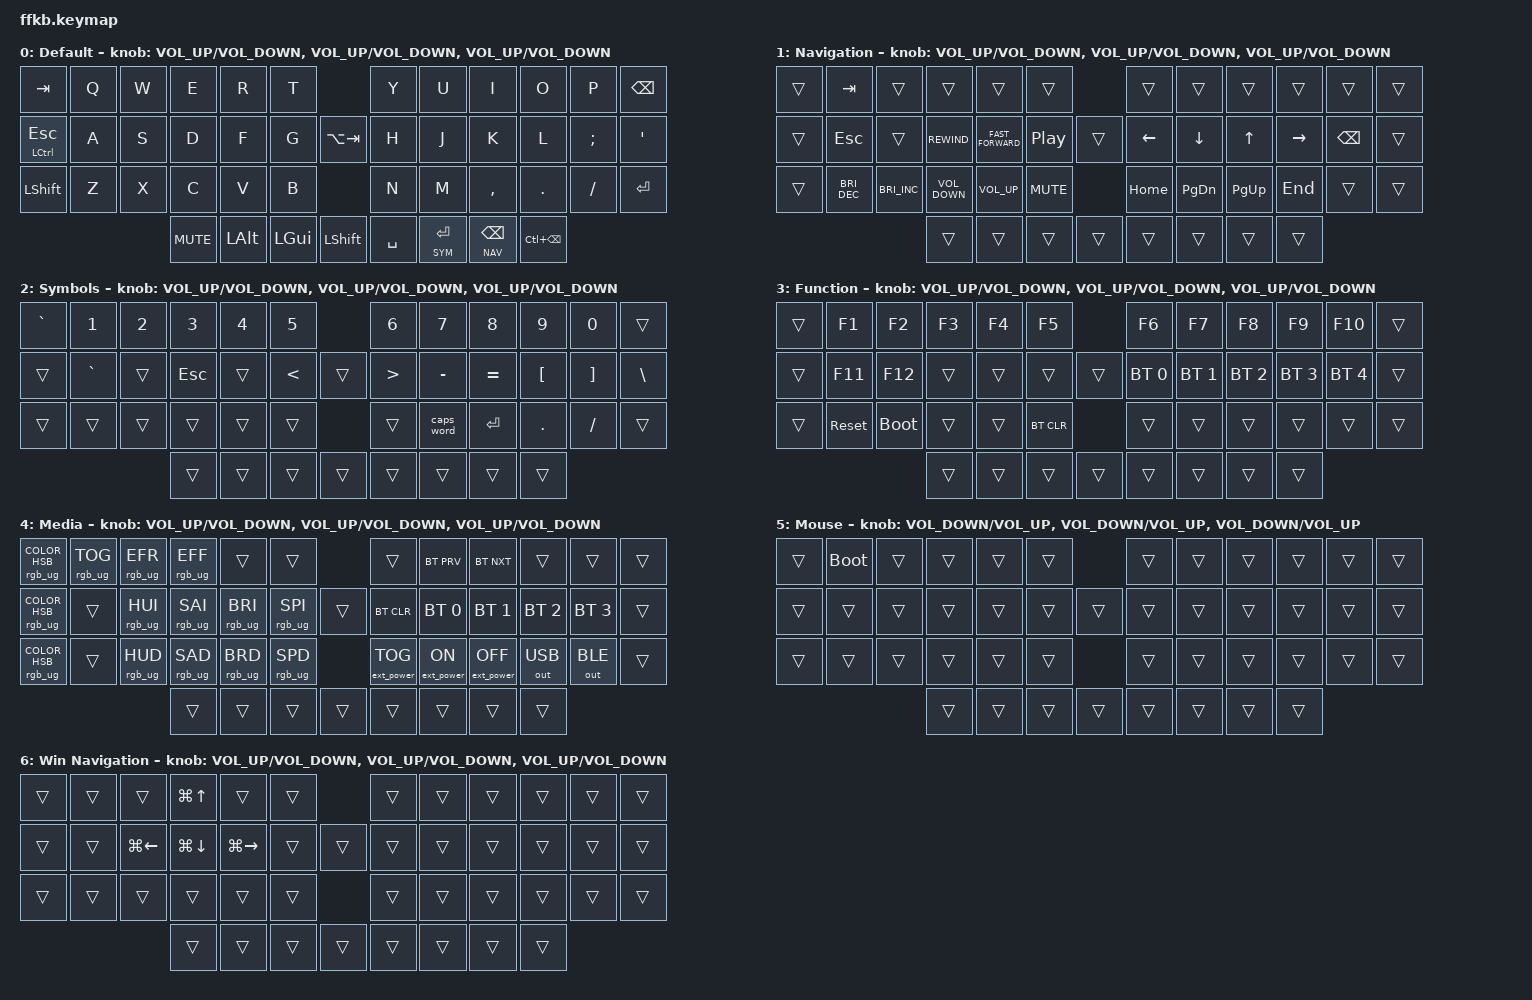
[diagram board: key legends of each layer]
#include <behaviors.dtsi>
#include <dt-bindings/zmk/keys.h>
#include <dt-bindings/zmk/rgb.h>
#include <dt-bindings/zmk/bt.h>
#include <dt-bindings/zmk/ext_power.h>
#include <dt-bindings/zmk/outputs.h>

#define DEFAULT 0
#define NAV     1
#define SYM     2
#define FUNC    3
#define MEDIA   4
#define MOUSE   5
#define WINNAV  6

&caps_word {
    continue-list = <UNDERSCORE MINUS>;
};

/ {
    combos {
        compatible = "zmk,combos";
        combo_undo {
            timeout-ms = <50>;
            key-positions = <26 27>;
            bindings = <&kp LC(Z)>;
        };
        combo_q {
            timeout-ms = <50>;
            key-positions = <27 28>;
            bindings = <&kp Q>;
        };
        combo_semicolon {
            timeout-ms = <50>;
            key-positions = <33 34>;
            bindings = <&kp SEMI>;
        };
    };
};

/ {

    sensors {
        compatible = "zmk,keymap-sensors";
        sensors = <&encoder_1 &encoder_2 &encoder_3>;
    };

    conditional_layers {
        compatible = "zmk,conditional-layers";
        tri_layer {
            if-layers = <NAV SYM>;
            then-layer = <FUNC>;
        };
    };

    behaviors {
        hm: homerow_mods {
            compatible = "zmk,behavior-hold-tap";
            label = "HOMEROW_MODS";
            #binding-cells = <2>;
            tapping-term-ms = <200>;
            quick_tap_ms = <125>;
            global-quick-tap;
            flavor = "balanced";
            bindings = <&kp>, <&kp>;
        };
        hs: homerow_shift {
            compatible = "zmk,behavior-hold-tap";
            label = "HOMEROW_SHIFT";
            #binding-cells = <2>;
            tapping-term-ms = <175>;
            quick_tap_ms = <0>;
            flavor = "balanced";
            bindings = <&kp>, <&kp>;
        };
    };

    keymap {
        compatible = "zmk,keymap";

        default_layer {
            label = "Default";

            sensor-bindings = <&inc_dec_kp C_VOLUME_UP C_VOLUME_DOWN &inc_dec_kp C_VOLUME_UP C_VOLUME_DOWN &inc_dec_kp C_VOLUME_UP C_VOLUME_DOWN>;

            bindings = <
    &kp TAB       &kp Q       &kp W        &kp E       &kp R         &kp T                                       &kp Y            &kp U         &kp I         &kp O       &kp P         &kp BSPC
    &hm LCTL ESC  &kp A       &kp S        &kp D       &kp F         &kp G            &kp LA(TAB)                &kp H            &kp J         &kp K         &kp L       &kp SEMI      &kp SQT
    &kp LSHIFT    &kp Z       &kp X        &kp C       &kp V         &kp B                                       &kp N            &kp M         &kp COMMA     &kp DOT     &kp FSLH      &kp RET
                                           &kp C_MUTE  &kp LALT      &kp LGUI  &kp LSHIFT       &kp SPACE        &lt SYM RET      &lt NAV BSPC  &kp LC(BSPC)
            >;
        };

        nav_layer {
            label = "Navigation";

            sensor-bindings = <&inc_dec_kp C_VOLUME_UP C_VOLUME_DOWN &inc_dec_kp C_VOLUME_UP C_VOLUME_DOWN &inc_dec_kp C_VOLUME_UP C_VOLUME_DOWN>;

            bindings = <
    &trans     &kp TAB       &trans        &trans             &trans             &trans                                      &trans        &trans         &trans        &trans      &trans      &trans
    &trans     &kp ESC       &trans        &kp C_REWIND       &kp C_FAST_FORWARD &kp C_PLAY_PAUSE      &trans                &kp LEFT      &kp DOWN       &kp UP        &kp RIGHT   &kp BSPC    &trans
    &trans     &kp C_BRI_DEC &kp C_BRI_INC &kp C_VOLUME_DOWN  &kp C_VOLUME_UP    &kp K_MUTE                                  &kp HOME      &kp PAGE_DOWN  &kp PAGE_UP   &kp END     &trans      &trans
                                           &trans             &trans             &trans          &trans       &trans         &trans        &trans         &trans
            >;
        };

        sym_layer {
            label = "Symbols";

            sensor-bindings = <&inc_dec_kp C_VOLUME_UP C_VOLUME_DOWN &inc_dec_kp C_VOLUME_UP C_VOLUME_DOWN &inc_dec_kp C_VOLUME_UP C_VOLUME_DOWN>;

            bindings = <
    &kp GRAVE   &kp N1        &kp N2        &kp N3          &kp N4           &kp N5                                      &kp N6        &kp N7            &kp N8        &kp N9      &kp N0      &trans
    &trans      &kp GRAVE     &trans        &kp ESC         &trans           &kp LT                &trans                &kp GT        &kp MINUS         &kp EQUAL     &kp LBKT    &kp RBKT    &kp BSLH
    &trans      &trans        &trans        &trans          &trans           &trans                                      &trans        &caps_word        &kp RET       &kp DOT     &kp FSLH    &trans
                                            &trans          &trans           &trans        &trans         &trans         &trans        &trans            &trans
            >;
        };

        func_layer {
            label = "Function";

            sensor-bindings = <&inc_dec_kp C_VOLUME_UP C_VOLUME_DOWN &inc_dec_kp C_VOLUME_UP C_VOLUME_DOWN &inc_dec_kp C_VOLUME_UP C_VOLUME_DOWN>;

            bindings = <
    &trans     &kp F1       &kp F2       &kp F3             &kp F4           &kp F5                                      &kp F6        &kp F7        &kp F8        &kp F9        &kp F10       &trans
    &trans     &kp F11      &kp F12      &trans             &trans           &trans               &trans                 &bt BT_SEL 0  &bt BT_SEL 1  &bt BT_SEL 2  &bt BT_SEL 3  &bt BT_SEL 4  &trans
    &trans     &sys_reset   &bootloader  &trans             &trans           &bt BT_CLR                                  &trans        &trans        &trans        &trans        &trans        &trans
                                         &trans             &trans           &trans        &trans         &trans         &trans        &trans        &trans
            >;
        };

        media_layer {
            label = "Media";

            sensor-bindings = <&inc_dec_kp C_VOLUME_UP C_VOLUME_DOWN &inc_dec_kp C_VOLUME_UP C_VOLUME_DOWN &inc_dec_kp C_VOLUME_UP C_VOLUME_DOWN>;

            bindings = <
    &rgb_ug RGB_COLOR_HSB(0,0,100)         &rgb_ug RGB_TOG  &rgb_ug RGB_EFR  &rgb_ug RGB_EFF &trans            &trans                            &trans             &bt BT_PRV        &bt BT_NXT         &trans         &trans          &trans
    &rgb_ug RGB_COLOR_HSB(224,100,100)     &trans           &rgb_ug RGB_HUI  &rgb_ug RGB_SAI &rgb_ug RGB_BRI   &rgb_ug RGB_SPI      &trans       &bt BT_CLR         &bt BT_SEL 0      &bt BT_SEL 1       &bt BT_SEL 2   &bt BT_SEL 3    &trans
    &rgb_ug RGB_COLOR_HSB(278,100,100)     &trans           &rgb_ug RGB_HUD  &rgb_ug RGB_SAD &rgb_ug RGB_BRD   &rgb_ug RGB_SPD                   &ext_power EP_TOG  &ext_power EP_ON  &ext_power EP_OFF  &out OUT_USB   &out OUT_BLE    &trans
                                                                            &trans          &trans            &trans        &trans         &trans         &trans           &trans     &trans
            >;
        };

        mouse_layer {
            label = "Mouse";

            sensor-bindings = <&inc_dec_kp C_VOLUME_DOWN C_VOLUME_UP &inc_dec_kp C_VOLUME_DOWN C_VOLUME_UP &inc_dec_kp C_VOLUME_DOWN C_VOLUME_UP>;

            bindings = <
    &trans     &bootloader &trans      &trans      &trans      &trans                                           &trans      &trans      &trans      &trans      &trans      &trans
    &trans     &trans      &trans      &trans      &trans      &trans                   &trans                  &trans      &trans      &trans      &trans      &trans      &trans
    &trans     &trans      &trans      &trans      &trans      &trans                                           &trans      &trans      &trans      &trans      &trans      &trans
                                         &trans      &trans        &trans        &trans         &trans          &trans      &trans      &trans
            >;
        };

        winnav_layer {
            label = "Win Navigation";

            sensor-bindings = <&inc_dec_kp C_VOLUME_UP C_VOLUME_DOWN &inc_dec_kp C_VOLUME_UP C_VOLUME_DOWN &inc_dec_kp C_VOLUME_UP C_VOLUME_DOWN>;

            bindings = <
    &trans     &trans       &trans       &kp LG(UP)   &trans        &trans                                      &trans      &trans      &trans      &trans      &trans      &trans
    &trans     &trans       &kp LG(LEFT) &kp LG(DOWN) &kp LG(RIGHT) &trans                &trans                &trans      &trans      &trans      &trans      &trans      &trans
    &trans     &trans       &trans       &trans       &trans        &trans                                      &trans      &trans      &trans      &trans      &trans      &trans
                                         &trans       &trans        &trans        &trans         &trans         &trans        &trans       &trans
            >;
        };
    };
};
